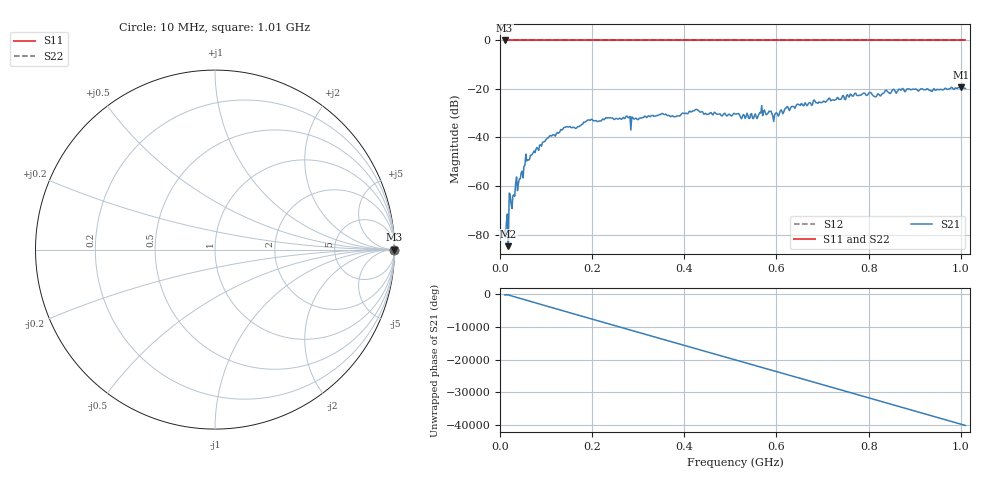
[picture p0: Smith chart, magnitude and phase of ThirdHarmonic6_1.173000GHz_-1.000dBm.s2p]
! 8/16/2025 11:54:15 AM
! C:\ANRITSUVNA\TEMP\TEMP.S2P
! CHANNEL.1
! TR.MEASUREMENT
! RAW.DATA
! RF.CORRECTION.OFF
! AVERAGING.OFF
! IF.BANDWIDTH: 5KHZ
! SWEEPTYPE:  FREQ.SWEEP(Linear)
! Reference Plane Port Info
! PORT:  PORT1  PORT2
! DISTANCE:  0  m  0  m
! TIME:  0  s  0  s
! PHASE.OFFSET:  0  deg.  0  deg.
! LOSS:  0  dB  0  dB
! REF.LOSS:  0  dB  0  dB
! REF.FREQ:  0  Hz  0  Hz
! Power Info
! POWER:  -20  dBm  -20  dBm
! EFF.POWER:  -20  dBm  -20  dBm
! SOURCE.ATTEN:  0  dB  0  dB
! TEST.ATTEN:  0  dB  0  dB
# GHZ S RI R 50.0
! FREQ.GHZ  S11RE  S11IM  S21RE  S21IM  S12RE  S12IM  S22RE  S22IM
!; PortSelection: Port_12
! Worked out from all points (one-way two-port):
!   501 points, 10 MHz to 1.01 GHz, reference 50 ohm
!   highest |S21| = -19.29 dB at 1 GHz (marker M1); lowest = -84.8 dB at 18 MHz (marker M2)
!   lowest |S11| = 0.0 dB at 10 MHz (marker M3)
!   |S11| at or under -10 dB: nowhere
!   |S22| runs from 0.0 to 0.0 dB; largest |S21 - S12| = 1.1
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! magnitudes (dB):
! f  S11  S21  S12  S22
! 10 MHz  0.0  -78.2  0.0  0.0
! 14 MHz  0.0  -74.9  0.0  0.0
! 18 MHz  0.0  -84.8  0.0  0.0
! 22 MHz  0.0  -63.4  0.0  0.0
! 24 MHz  0.0  -67.4  0.0  0.0
! 28 MHz  0.0  -63.9  0.0  0.0
! 32 MHz  0.0  -64.3  0.0  0.0
! 60 MHz  0.0  -49.1  0.0  0.0
! 106 MHz  0.0  -39.8  0.0  0.0
! 178 MHz  0.0  -34.5  0.0  0.0
! 344 MHz  0.0  -30.8  0.0  0.0
! 382 MHz  0.0  -31.4  0.0  0.0
! 426 MHz  0.0  -28.4  0.0  0.0
! 510 MHz  0.0  -30.3  0.0  0.0
! 554 MHz  0.0  -30.3  0.0  0.0
! 572 MHz  0.0  -29.1  0.0  0.0
! 596 MHz  0.0  -30.7  0.0  0.0
! 622 MHz  0.0  -27.4  0.0  0.0
! 678 MHz  0.0  -26.6  0.0  0.0
! 844 MHz  0.0  -21.6  0.0  0.0
! 1 GHz  0.0  -19.3  0.0  0.0
! 1.01 GHz  0.0  -19.8  0.0  0.0
